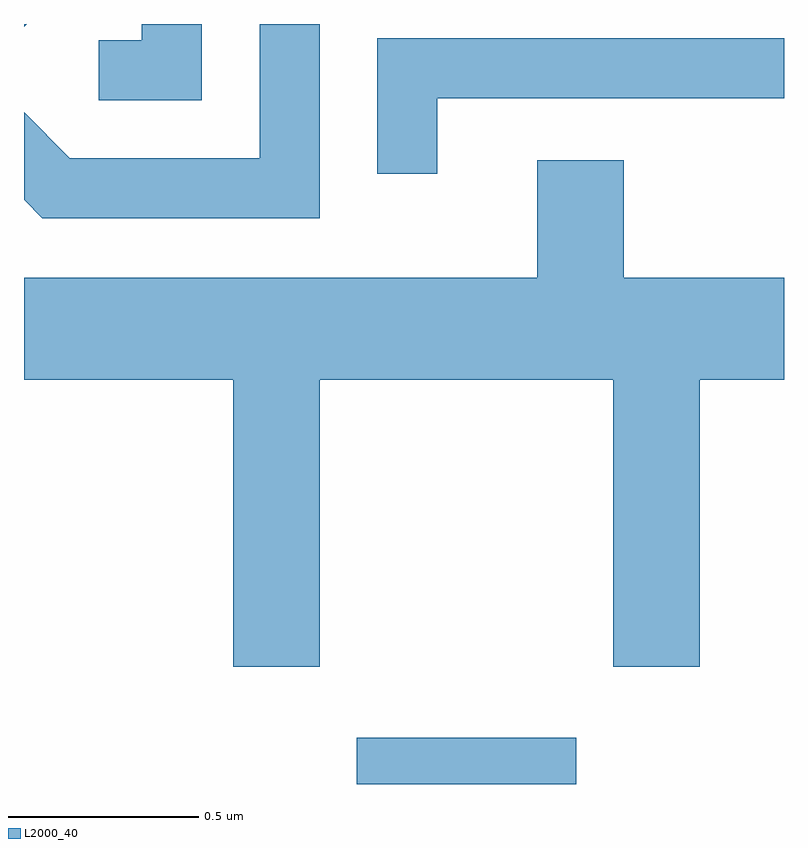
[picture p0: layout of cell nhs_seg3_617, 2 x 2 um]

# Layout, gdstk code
import gdstk
lib = gdstk.Library(unit=1e-6, precision=1e-09)
def R(c, l, rs):  # rectangles x0, y0, x1, y1
    for r in rs: c.add(gdstk.rectangle(r[:2], r[2:], *l))
def P(c, l, *ps):  # polygons
    for p in ps: c.add(gdstk.Polygon(p, *l))
L2000_40 = (2000, 40)

nhs_seg3_617 = lib.new_cell('nhs_seg3_617')
R(nhs_seg3_617, L2000_40, [(190.486,1184.892,191.064,1185.014)])
P(nhs_seg3_617, L2000_40, [(190.079,1186.892),(189.921,1186.892),(189.921,1186.849),(189.808,1186.849),(189.808,1186.691),(190.079,1186.691)],
  [(189.618,1186.892),(189.611,1186.892),(189.611,1186.885)],
  [(190.389,1186.892),(190.231,1186.892),(190.231,1186.539),(189.732,1186.539),(189.611,1186.66),(189.611,1186.429),(189.659,1186.381),(190.389,1186.381)],
  [(190.699,1186.696),(191.611,1186.696),(191.611,1186.854),(190.541,1186.854),(190.541,1186.498),(190.699,1186.498)],
  [(190.389,1185.956),(191.161,1185.956),(191.161,1185.201),(191.389,1185.201),(191.389,1185.956),(191.611,1185.956),(191.611,1186.224),(191.189,1186.224),(191.189,1186.534),(190.961,1186.534),(190.961,1186.224),(189.611,1186.224),(189.611,1185.956),(190.161,1185.956),(190.161,1185.201),(190.389,1185.201)])

lib.write_gds('nhs_seg3_617.gds')
